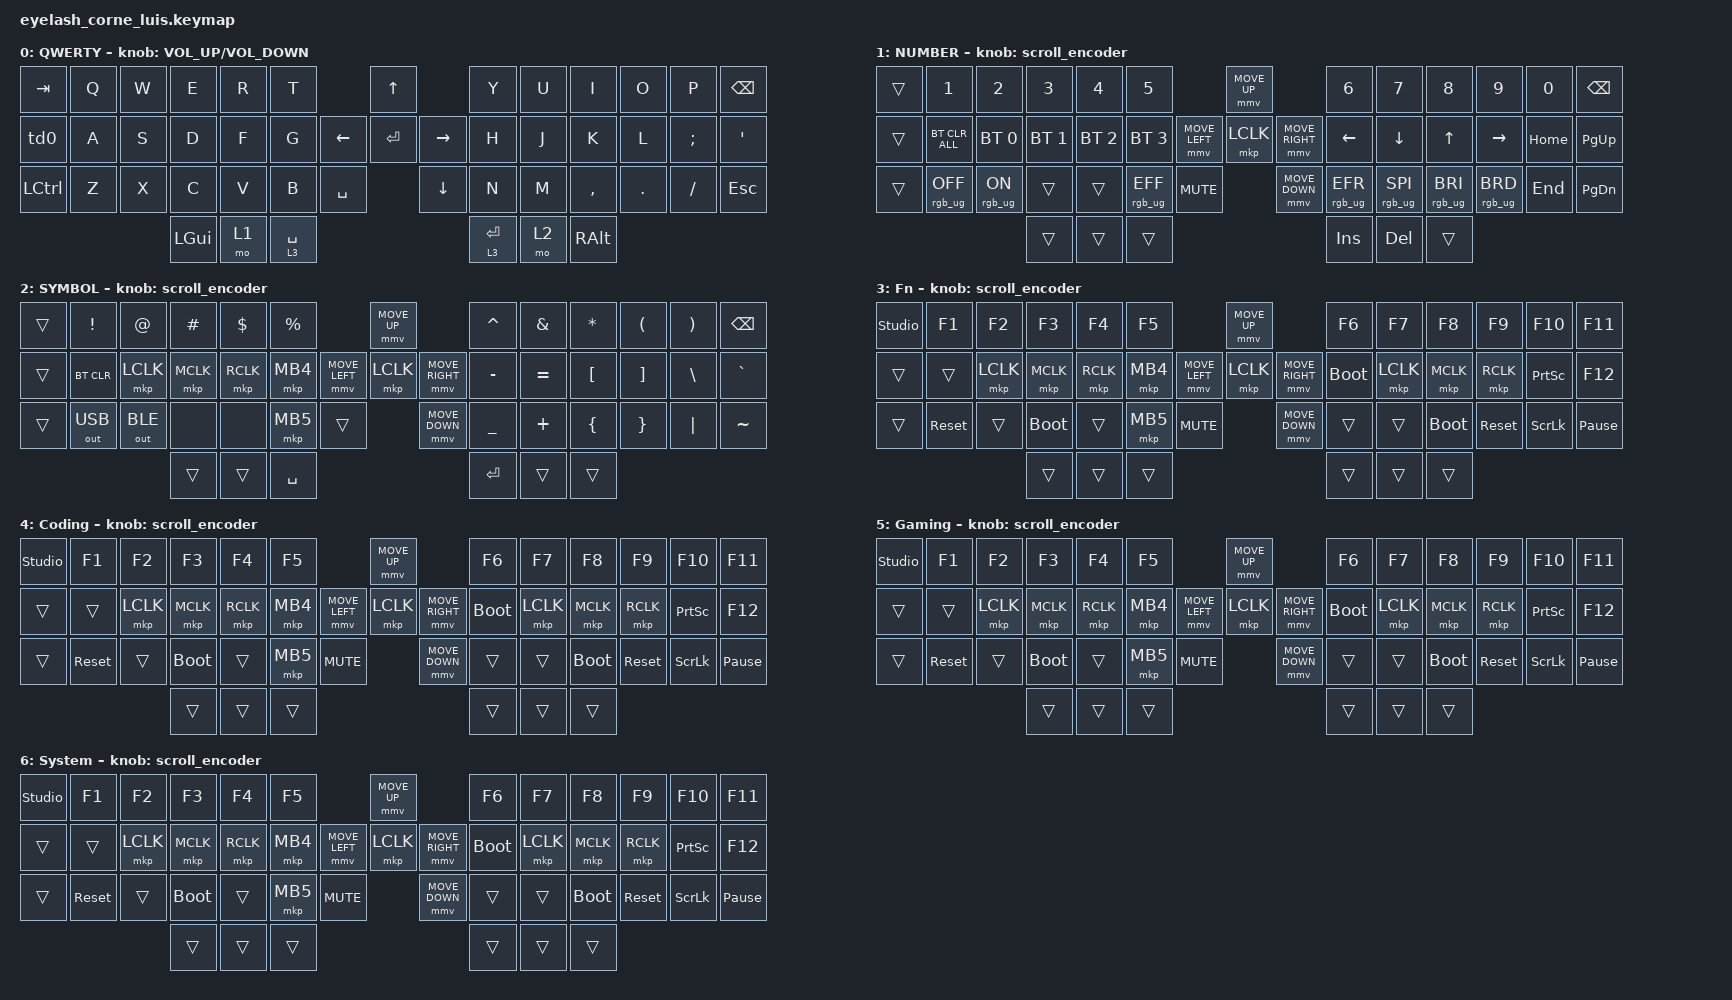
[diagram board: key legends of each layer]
#define ZMK_POINTING_DEFAULT_MOVE_VAL 1200  // 600
#define ZMK_POINTING_DEFAULT_SCRL_VAL 25   // 10

#include <input/processors.dtsi>
#include <zephyr/dt-bindings/input/input-event-codes.h>
#include <behaviors.dtsi>
#include <dt-bindings/zmk/bt.h>
#include <dt-bindings/zmk/keys.h>
#include <dt-bindings/zmk/outputs.h>
#include <dt-bindings/zmk/pointing.h>
#include <dt-bindings/zmk/rgb.h>

&mmv_input_listener { input-processors = <&zip_xy_scaler 2 1>; };

&msc_input_listener { input-processors = <&zip_scroll_scaler 2 1>; };

&msc {
    acceleration-exponent = <1>;      // 0
    time-to-max-speed-ms = <100>;       // 300
    delay-ms = <0>;                   // 0
};

&mmv {
    time-to-max-speed-ms = <500>;
    acceleration-exponent = <1>;
    trigger-period-ms = <16>;
};

&soft_off { hold-time-ms = <2000>; };

/ {
    behaviors {
        td0: td0 {
            compatible = "zmk,behavior-tap-dance";
            display-name = "Shift/Caps Lock Tap Dance";
            #binding-cells = <0>;
            bindings = <&kp LEFT_SHIFT>, <&kp CAPS>;
        };
        td1: td1 {
            compatible = "zmk,behavior-tap-dance";
            display-name = "Left/Right Mouse Click Tap Dance";
            #binding-cells = <0>;
            bindings = <&kp LEFT_SHIFT>, <&mkp LCLK>;
        };
    };

    rgb_encoder: rgb_encoder {
        compatible = "zmk,behavior-sensor-rotate";
        #sensor-binding-cells = <0>;
        bindings = <&rgb_ug RGB_BRI>, <&rgb_ug RGB_BRD>;
    };

    scroll_encoder: scroll_encoder {
        compatible = "zmk,behavior-sensor-rotate";
        #sensor-binding-cells = <0>;
        bindings = <&msc SCRL_DOWN>, <&msc SCRL_UP>;

        tap-ms = <100>;
    };

    combos {
        compatible = "zmk,combos";

        softoff {
            bindings = <&soft_off>;
            key-positions = <1 15 29>;
        };
    };

    keymap {
        compatible = "zmk,keymap";

        default_layer {
            display-name = "QWERTY";
            bindings = <
&kp TAB    &kp Q  &kp W  &kp E     &kp R  &kp T                               &kp UP                &kp Y        &kp U  &kp I      &kp O    &kp P     &kp BSPC
&td0       &kp A  &kp S  &kp D     &kp F  &kp G                     &kp LEFT  &kp ENTER  &kp RIGHT  &kp H        &kp J  &kp K      &kp L    &kp SEMI  &kp SQT
&kp LCTRL  &kp Z  &kp X  &kp C     &kp V  &kp B        &kp SPACE              &kp DOWN              &kp N        &kp M  &kp COMMA  &kp DOT  &kp FSLH  &kp ESC
                         &kp LGUI  &mo 1  &lt 3 SPACE                                               &lt 3 ENTER  &mo 2  &kp RALT
            >;

             sensor-bindings = <&inc_dec_kp C_VOLUME_UP C_VOLUME_DOWN>;
        };

        lower_layer {
            display-name = "NUMBER";
            bindings = <
&trans  &kp N1           &kp N2          &kp N3        &kp N4        &kp N5                                         &mmv MOVE_UP                     &kp N6           &kp N7           &kp N8           &kp N9           &kp N0    &kp BSPC
&trans  &bt BT_CLR_ALL   &bt BT_SEL 0    &bt BT_SEL 1  &bt BT_SEL 2  &bt BT_SEL 3                   &mmv MOVE_LEFT  &mkp LCLK       &mmv MOVE_RIGHT  &kp LEFT         &kp DOWN         &kp UP           &kp RIGHT        &kp HOME  &kp PG_UP
&trans  &rgb_ug RGB_OFF  &rgb_ug RGB_ON  &trans        &trans        &rgb_ug RGB_EFF  &kp C_MUTE                    &mmv MOVE_DOWN                   &rgb_ug RGB_EFR  &rgb_ug RGB_SPI  &rgb_ug RGB_BRI  &rgb_ug RGB_BRD  &kp END   &kp PG_DN
                                         &trans        &trans        &trans                                                                          &kp INS          &kp DEL          &trans
            >;

            sensor-bindings = <&scroll_encoder>;
        };

        raise_layer {
            display-name = "SYMBOL";
            bindings = <
&trans  &kp EXCL      &kp AT        &kp HASH   &kp DLLR   &kp PRCNT                            &mmv MOVE_UP                     &kp CARET  &kp AMPS   &kp ASTRK  &kp LPAR  &kp RPAR  &kp BSPC
&trans  &bt BT_CLR    &mkp LCLK     &mkp MCLK  &mkp RCLK  &mkp MB4             &mmv MOVE_LEFT  &mkp LCLK       &mmv MOVE_RIGHT  &kp MINUS  &kp EQUAL  &kp LBKT   &kp RBKT  &kp BSLH  &kp GRAVE
&trans  &out OUT_USB  &out OUT_BLE  &none      &none      &mkp MB5   &trans                    &mmv MOVE_DOWN                   &kp UNDER  &kp PLUS   &kp LBRC   &kp RBRC  &kp PIPE  &kp TILDE
                                    &trans     &trans     &kp SPACE                                                             &kp RET    &trans     &trans
            >;

            sensor-bindings = <&scroll_encoder>;
        };

        layer_3 {
            display-name = "Fn";
            bindings = <
&studio_unlock  &kp F1      &kp F2     &kp F3       &kp F4     &kp F5                                  &mmv MOVE_UP                     &kp F6       &kp F7     &kp F8       &kp F9      &kp F10          &kp F11
&trans          &trans      &mkp LCLK  &mkp MCLK    &mkp RCLK  &mkp MB4                &mmv MOVE_LEFT  &mkp LCLK       &mmv MOVE_RIGHT  &bootloader  &mkp LCLK  &mkp MCLK    &mkp RCLK   &kp PRINTSCREEN  &kp F12
&trans          &sys_reset  &trans     &bootloader  &trans     &mkp MB5  &kp C_MUTE                    &mmv MOVE_DOWN                   &trans       &trans     &bootloader  &sys_reset  &kp SCROLLLOCK   &kp PAUSE_BREAK
                                       &trans       &trans     &trans                                                                   &trans       &trans     &trans
            >;

            sensor-bindings = <&scroll_encoder>;
        };
        layer_4 {
            display-name = "Coding";
            bindings = <
&studio_unlock  &kp F1      &kp F2     &kp F3       &kp F4     &kp F5                                  &mmv MOVE_UP                     &kp F6       &kp F7     &kp F8       &kp F9      &kp F10          &kp F11
&trans          &trans      &mkp LCLK  &mkp MCLK    &mkp RCLK  &mkp MB4                &mmv MOVE_LEFT  &mkp LCLK       &mmv MOVE_RIGHT  &bootloader  &mkp LCLK  &mkp MCLK    &mkp RCLK   &kp PRINTSCREEN  &kp F12
&trans          &sys_reset  &trans     &bootloader  &trans     &mkp MB5  &kp C_MUTE                    &mmv MOVE_DOWN                   &trans       &trans     &bootloader  &sys_reset  &kp SCROLLLOCK   &kp PAUSE_BREAK
                                       &trans       &trans     &trans                                                                   &trans       &trans     &trans
            >;

            sensor-bindings = <&scroll_encoder>;
        };
        layer_5 {
            display-name = "Gaming";
            bindings = <
&studio_unlock  &kp F1      &kp F2     &kp F3       &kp F4     &kp F5                                  &mmv MOVE_UP                     &kp F6       &kp F7     &kp F8       &kp F9      &kp F10          &kp F11
&trans          &trans      &mkp LCLK  &mkp MCLK    &mkp RCLK  &mkp MB4                &mmv MOVE_LEFT  &mkp LCLK       &mmv MOVE_RIGHT  &bootloader  &mkp LCLK  &mkp MCLK    &mkp RCLK   &kp PRINTSCREEN  &kp F12
&trans          &sys_reset  &trans     &bootloader  &trans     &mkp MB5  &kp C_MUTE                    &mmv MOVE_DOWN                   &trans       &trans     &bootloader  &sys_reset  &kp SCROLLLOCK   &kp PAUSE_BREAK
                                       &trans       &trans     &trans                                                                   &trans       &trans     &trans
            >;

            sensor-bindings = <&scroll_encoder>;
        };
        layer_6 {
            display-name = "System";
            bindings = <
&studio_unlock  &kp F1      &kp F2     &kp F3       &kp F4     &kp F5                                  &mmv MOVE_UP                     &kp F6       &kp F7     &kp F8       &kp F9      &kp F10          &kp F11
&trans          &trans      &mkp LCLK  &mkp MCLK    &mkp RCLK  &mkp MB4                &mmv MOVE_LEFT  &mkp LCLK       &mmv MOVE_RIGHT  &bootloader  &mkp LCLK  &mkp MCLK    &mkp RCLK   &kp PRINTSCREEN  &kp F12
&trans          &sys_reset  &trans     &bootloader  &trans     &mkp MB5  &kp C_MUTE                    &mmv MOVE_DOWN                   &trans       &trans     &bootloader  &sys_reset  &kp SCROLLLOCK   &kp PAUSE_BREAK
                                       &trans       &trans     &trans                                                                   &trans       &trans     &trans
            >;

            sensor-bindings = <&scroll_encoder>;
        };
    };
};
